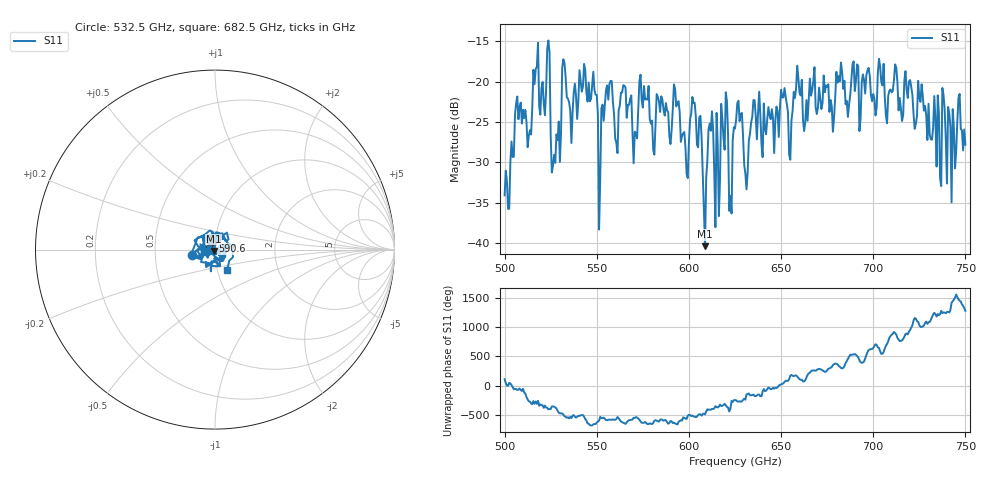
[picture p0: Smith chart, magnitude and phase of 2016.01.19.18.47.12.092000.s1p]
!Created with skrf (http://scikit-rf.org).
# GHz S RI R 50.0
!freq ReS11 ImS11
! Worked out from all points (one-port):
!   401 points, 500 GHz to 750 GHz, reference 50 ohm
!   lowest |S11| = -40.4 dB at 608.8 GHz (marker M1), VSWR 1.02, Z = 49.3 - j0.683 ohm
!   |S11| at or under -10 dB: start of sweep to end of sweep
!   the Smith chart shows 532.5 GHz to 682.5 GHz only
!   S11 on the Smith chart (normalised r, x): 532.5 GHz: 0.77, -0.05; 590.6 GHz: 0.97, +0.09; 682.5 GHz: 1.12, -0.26
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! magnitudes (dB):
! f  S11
! 500 GHz  -34.1
! 513.8 GHz  -26.0
! 516.9 GHz  -18.4
! 523.8 GHz  -14.9
! 526.2 GHz  -30.4
! 531.2 GHz  -18.3
! 532.5 GHz  -17.7
! 548.8 GHz  -21.0
! 552.5 GHz  -23.3
! 556.2 GHz  -22.2
! 562.5 GHz  -23.0
! 590.6 GHz  -26.0
! 593.8 GHz  -22.7
! 598.8 GHz  -31.4
! 602.5 GHz  -22.6
! 608.8 GHz  -40.4
! 611.9 GHz  -26.1
! 615.6 GHz  -27.8
! 619.4 GHz  -28.4
! 622.5 GHz  -34.2
! 625 GHz  -25.8
! 631.2 GHz  -33.4
! 635 GHz  -22.3
! 656.2 GHz  -23.6
! 682.5 GHz  -17.6
! 687.5 GHz  -21.7
! 718.8 GHz  -22.0
! 750 GHz  -27.8
